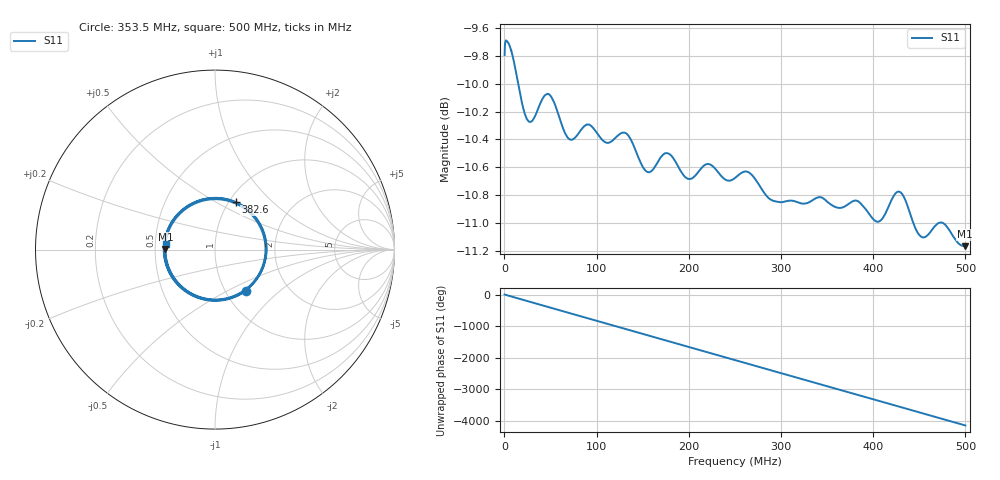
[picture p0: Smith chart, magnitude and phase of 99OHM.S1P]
!Agilent Technologies,E5071C,MY46214392,A.11.36
!Date: Sun Apr 19 14:41:42 2026
!Data & Calibration Information:
!Freq	S11:NONE(--)
!PortZ  Port1:50+j0
!Above PortZ is port z conversion or system Z0 setting when saving the data.
!When reading, reference impedance value at option line is always used.
# Hz S RI R 50
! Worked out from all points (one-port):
!   1601 points, 300 kHz to 500 MHz, reference 50 ohm
!   lowest |S11| = -11.2 dB at 499.4 MHz (marker M1), VSWR 1.76, Z = 28.3 + j0.254 ohm
!   |S11| at or under -10 dB: 14.98 MHz to end of sweep
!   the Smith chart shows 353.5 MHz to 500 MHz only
!   S11 on the Smith chart (normalised r, x): 353.5 MHz: 1.25, -0.62; 382.6 MHz: 1.07, +0.62; 500 MHz: 0.57, +0.04
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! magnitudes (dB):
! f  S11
! 300 kHz  -9.8
! 6.546 MHz  -9.7
! 25.6 MHz  -10.3
! 47.46 MHz  -10.1
! 62.76 MHz  -10.3
! 72.13 MHz  -10.4
! 90.25 MHz  -10.3
! 110.5 MHz  -10.4
! 125.2 MHz  -10.4
! 154.6 MHz  -10.6
! 175.2 MHz  -10.5
! 187.7 MHz  -10.6
! 199.9 MHz  -10.7
! 220.8 MHz  -10.6
! 250.2 MHz  -10.7
! 264.2 MHz  -10.6
! 288.6 MHz  -10.8
! 312.6 MHz  -10.8
! 353.5 MHz  -10.9
! 375.1 MHz  -10.9
! 382.6 MHz  -10.8
! 404.4 MHz  -11.0
! 426.3 MHz  -10.8
! 437.5 MHz  -10.9
! 451.9 MHz  -11.1
! 474.4 MHz  -11.0
! 499.4 MHz  -11.2
! 500 MHz  -11.2
